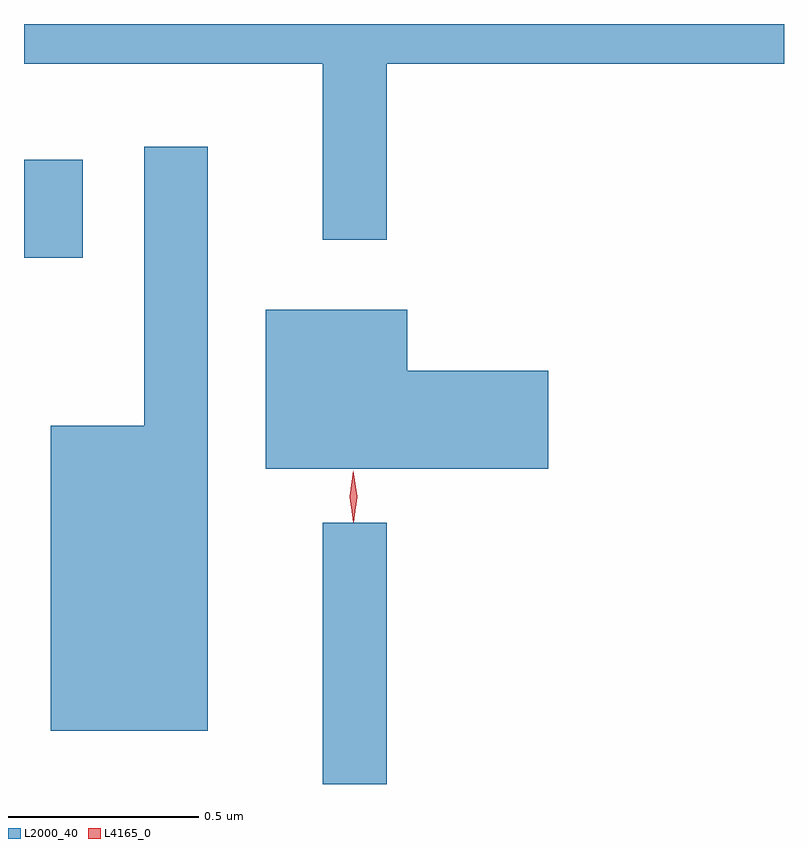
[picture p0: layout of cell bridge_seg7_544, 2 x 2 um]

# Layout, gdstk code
import gdstk
lib = gdstk.Library(unit=1e-6, precision=1e-09)
def R(c, l, rs):  # rectangles x0, y0, x1, y1
    for r in rs: c.add(gdstk.rectangle(r[:2], r[2:], *l))
def P(c, l, *ps):  # polygons
    for p in ps: c.add(gdstk.Polygon(p, *l))
L2000_40 = (2000, 40)
L4165_0 = (4165, 0)

bridge_seg7_544 = lib.new_cell('bridge_seg7_544')
R(bridge_seg7_544, L2000_40, [(856.481,1736.841,856.649,1737.528), (855.695,1738.226,855.849,1738.484)])
P(bridge_seg7_544, L2000_40, [(856.649,1738.736),(857.695,1738.736),(857.695,1738.841),(855.695,1738.841),(855.695,1738.736),(856.481,1738.736),(856.481,1738.273),(856.649,1738.273)],
  [(856.179,1738.518),(856.011,1738.518),(856.011,1737.784),(855.766,1737.784),(855.766,1736.981),(856.179,1736.981)],
  [(857.074,1737.929),(856.704,1737.929),(856.704,1738.089),(856.331,1738.089),(856.331,1737.671),(857.074,1737.671)])
P(bridge_seg7_544, L4165_0, [(856.562,1737.533),(856.562,1737.533),(856.552,1737.596),(856.561,1737.659),(856.562,1737.66),(856.562,1737.659),(856.572,1737.596),(856.563,1737.533)],
  [(856.562,1737.53),(856.562,1737.53),(856.552,1737.598),(856.561,1737.665),(856.561,1737.666),(856.562,1737.665),(856.572,1737.598),(856.563,1737.53)])

lib.write_gds('bridge_seg7_544.gds')
